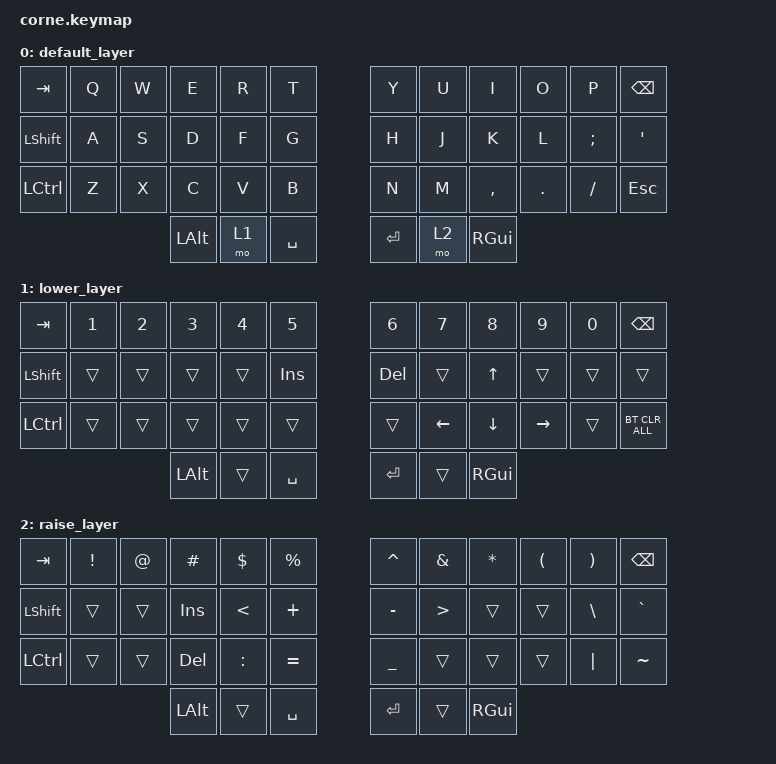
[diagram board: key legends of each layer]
/*
 * Copyright (c) 2020 The ZMK Contributors
 *
 * SPDX-License-Identifier: MIT
 */

#include <behaviors.dtsi>
#include <dt-bindings/zmk/bt.h>
#include <dt-bindings/zmk/keys.h>

/ {
    combos {
        compatible = "zmk,combos";

        left-brack {
            bindings = <&kp LEFT_PARENTHESIS>;
            key-positions = <3 4>;
        };

        right-par {
            bindings = <&kp RIGHT_PARENTHESIS>;
            key-positions = <8 7>;
        };

        lkb {
            bindings = <&kp LEFT_BRACKET>;
            key-positions = <15 16>;
        };

        rcb {
            bindings = <&kp RIGHT_BRACKET>;
            key-positions = <19 20>;
        };

        lb {
            bindings = <&kp LEFT_BRACE>;
            key-positions = <28 27>;
        };

        rb {
            bindings = <&kp RIGHT_BRACE>;
            key-positions = <31 32>;
        };

        vz {
            bindings = <&kp EXCLAMATION>;
            key-positions = <2 3>;
        };

        que {
            bindings = <&kp QMARK>;
            key-positions = <8 9>;
        };
    };

    keymap {
        compatible = "zmk,keymap";

        default_layer {
            // -----------------------------------------------------------------------------------------
            // |  TAB |  Q  |  W  |  E  |  R  |  T  |   |  Y  |  U   |  I  |  O  |  P  | BSPC |
            // | SHFT |  A  |  S  |  D  |  F  |  G  |   |  H  |  J   |  K  |  L  |  ;  |  '   |
            // | CTRL |  Z  |  X  |  C  |  V  |  B  |   |  N  |  M   |  ,  |  .  |  /  | ESC  |
            //                    | GUI | LWR | SPC |   | ENT | RSE  | ALT |

            bindings = <
&kp TAB    &kp Q  &kp W  &kp E     &kp R  &kp T        &kp Y    &kp U  &kp I      &kp O    &kp P     &kp BSPC
&kp LSHFT  &kp A  &kp S  &kp D     &kp F  &kp G        &kp H    &kp J  &kp K      &kp L    &kp SEMI  &kp SQT
&kp LCTRL  &kp Z  &kp X  &kp C     &kp V  &kp B        &kp N    &kp M  &kp COMMA  &kp DOT  &kp FSLH  &kp ESC
                         &kp LALT  &mo 1  &kp SPACE    &kp RET  &mo 2  &kp RGUI
            >;
        };

        lower_layer {
            // -----------------------------------------------------------------------------------------
            // |  TAB |  1  |  2  |  3  |  4  |  5  |   |  6  |  7  |  8  |  9  |  0  | BSPC |
            // | BTCLR| BT1 | BT2 | BT3 | BT4 | BT5 |   |     |     |  UP |     |     |      |
            // | SHFT |     |     |     |     |     |   |     | LFT | DWN | RGT |     |      |
            //                    | GUI |     | SPC |   | ENT |     | ALT |

            bindings = <
&kp TAB    &kp N1  &kp N2  &kp N3    &kp N4  &kp N5        &kp N6      &kp N7    &kp N8    &kp N9     &kp N0  &kp BSPC
&kp LSHFT  &trans  &trans  &trans    &trans  &kp INSERT    &kp DELETE  &trans    &kp UP    &trans     &trans  &trans
&kp LCTRL  &trans  &trans  &trans    &trans  &trans        &trans      &kp LEFT  &kp DOWN  &kp RIGHT  &trans  &bt BT_CLR_ALL
                           &kp LALT  &trans  &kp SPACE     &kp RET     &trans    &kp RGUI
            >;
        };

        raise_layer {
            // -----------------------------------------------------------------------------------------
            // |  TAB |  !  |  @  |  #  |  $  |  %  |   |  ^  |  &  |  *  |  (  |  )  | BSPC |
            // | SHFT |     |     |     |     |     |   |  -  |  =  |  [  |  ]  |  \  |  `   |
            // | CTRL |     |     |     |     |     |   |  _  |  +  |  {  |  }  | "|" |  ~   |
            //                    | GUI |     | SPC |   | ENT |     | ALT |

            bindings = <
&kp TAB    &kp EXCL  &kp AT  &kp HASH    &kp DLLR       &kp PRCNT    &kp CARET  &kp AMPS          &kp ASTRK  &kp LPAR  &kp RPAR  &kp BSPC
&kp LSHFT  &trans    &trans  &kp INSERT  &kp LESS_THAN  &kp PLUS     &kp MINUS  &kp GREATER_THAN  &trans     &trans    &kp BSLH  &kp GRAVE
&kp LCTRL  &trans    &trans  &kp DELETE  &kp COLON      &kp EQUAL    &kp UNDER  &trans            &trans     &trans    &kp PIPE  &kp TILDE
                             &kp LALT    &trans         &kp SPACE    &kp RET    &trans            &kp RGUI
            >;
        };
    };
};
